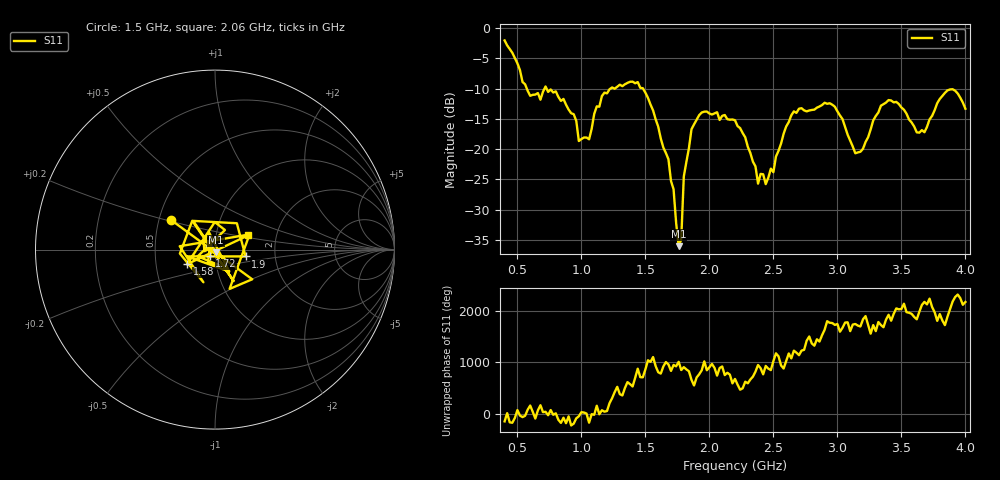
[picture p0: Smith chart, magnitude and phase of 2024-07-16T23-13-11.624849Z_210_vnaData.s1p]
!Created with skrf (http://scikit-rf.org).
# Hz S RI R 50.0
!freq ReS11 ImS11
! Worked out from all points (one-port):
!   181 points, 400 MHz to 4 GHz, reference 50 ohm
!   lowest |S11| = -36.1 dB at 1.76 GHz (marker M1), VSWR 1.03, Z = 50.6 - j1.48 ohm
!   |S11| at or under -10 dB: 573.6 MHz to 711.6 MHz (138.1 MHz wide, 21.5 % of centre); 728 MHz to 1.226 GHz (498.3 MHz wide, 51 % of centre); 1.482 GHz to end of sweep (the widest 3 of 4)
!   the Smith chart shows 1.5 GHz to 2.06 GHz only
!   S11 on the Smith chart (normalised r, x): 1.5 GHz: 0.58, +0.21; 1.58 GHz: 0.72, -0.12; 1.72 GHz: 0.94, -0.07; 1.9 GHz: 1.41, -0.11; 2.06 GHz: 1.43, +0.25
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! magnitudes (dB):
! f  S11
! 400 MHz  -2.0
! 600 MHz  -11.2
! 860 MHz  -11.7
! 980 MHz  -18.7
! 1.06 GHz  -18.4
! 1.16 GHz  -11.2
! 1.3 GHz  -9.3
! 1.5 GHz  -10.7
! 1.58 GHz  -15.1
! 1.72 GHz  -26.6
! 1.76 GHz  -36.1
! 1.78 GHz  -34.9
! 1.8 GHz  -24.5
! 1.86 GHz  -16.7
! 1.9 GHz  -15.2
! 2.06 GHz  -13.9
! 2.2 GHz  -15.2
! 2.38 GHz  -25.7
! 2.44 GHz  -25.8
! 2.66 GHz  -13.8
! 2.94 GHz  -12.4
! 3.1 GHz  -18.6
! 3.18 GHz  -20.4
! 3.4 GHz  -11.9
! 3.56 GHz  -15.1
! 3.68 GHz  -17.2
! 3.88 GHz  -10.1
! 4 GHz  -13.3
